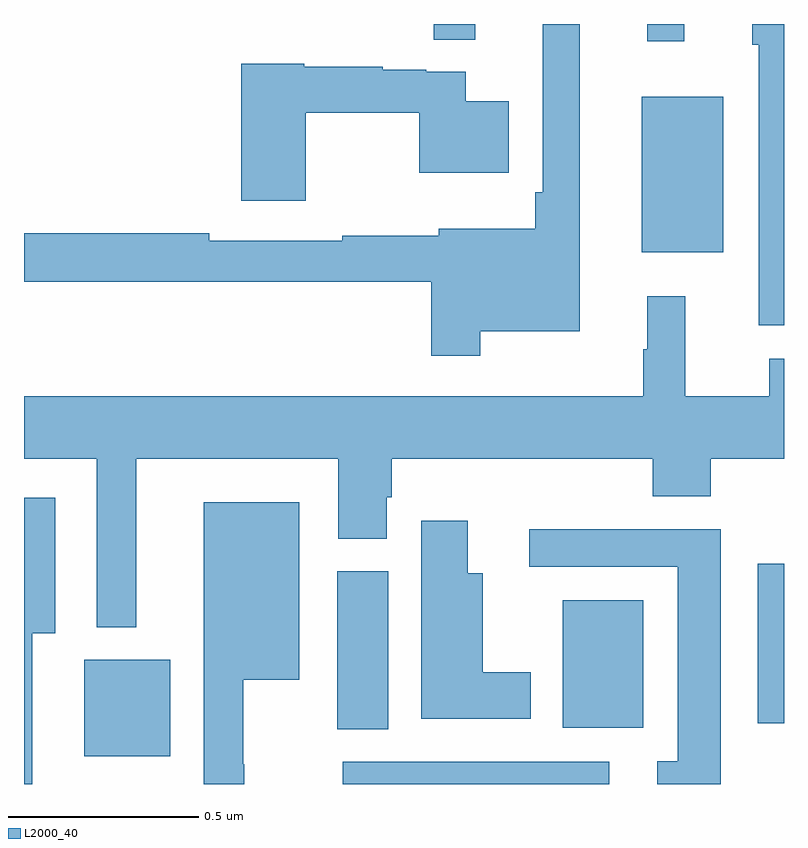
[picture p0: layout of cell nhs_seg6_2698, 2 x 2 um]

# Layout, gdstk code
import gdstk
lib = gdstk.Library(unit=1e-6, precision=1e-09)
def R(c, l, rs):  # rectangles x0, y0, x1, y1
    for r in rs: c.add(gdstk.rectangle(r[:2], r[2:], *l))
def P(c, l, *ps):  # polygons
    for p in ps: c.add(gdstk.Polygon(p, *l))
L2000_40 = (2000, 40)

nhs_seg6_2698 = lib.new_cell('nhs_seg6_2698')
R(nhs_seg6_2698, L2000_40, [(147.839,926.5,148.54,926.559), (147.158,926.573,147.385,926.827), (147.824,926.644,147.958,927.06), (148.418,926.648,148.63,926.983), (148.931,926.66,149,927.079), (148.625,927.899,148.84,928.309), (148.64,928.455,148.738,928.5), (148.078,928.459,148.187,928.5)])
P(nhs_seg6_2698, L2000_40, [(148.201,927.692),(148.462,927.692),(148.462,928.5),(148.365,928.5),(148.365,928.057),(148.345,928.057),(148.345,927.961),(148.091,927.961),(148.091,927.943),(147.838,927.943),(147.838,927.93),(147.488,927.93),(147.488,927.95),(147,927.95),(147,927.822),(148.072,927.822),(148.072,927.627),(148.201,927.627)],
  [(149,928.5),(148.916,928.5),(148.916,928.446),(148.934,928.446),(148.934,927.707),(149,927.707)],
  [(147.742,928.266),(148.04,928.266),(148.04,928.109),(148.276,928.109),(148.276,928.297),(148.162,928.297),(148.162,928.374),(148.058,928.374),(148.058,928.38),(147.944,928.38),(147.944,928.387),(147.738,928.387),(147.738,928.395),(147.572,928.395),(147.572,928.035),(147.742,928.035)],
  [(147.295,927.356),(147.827,927.356),(147.827,927.145),(147.955,927.145),(147.955,927.255),(147.968,927.255),(147.968,927.356),(148.655,927.356),(148.655,927.257),(148.807,927.257),(148.807,927.356),(149,927.356),(149,927.619),(148.961,927.619),(148.961,927.52),(148.74,927.52),(148.74,927.784),(148.64,927.784),(148.64,927.644),(148.629,927.644),(148.629,927.52),(147,927.52),(147,927.356),(147.191,927.356),(147.191,926.912),(147.295,926.912)],
  [(147.022,926.897),(147.082,926.897),(147.082,927.253),(147,927.253),(147,926.5),(147.022,926.5)],
  [(147.58,926.552),(147.577,926.552),(147.577,926.774),(147.724,926.774),(147.724,927.241),(147.473,927.241),(147.473,926.5),(147.58,926.5)],
  [(148.333,926.794),(148.207,926.794),(148.207,927.055),(148.168,927.055),(148.168,927.193),(148.046,927.193),(148.046,926.672),(148.333,926.672)],
  [(148.834,927.17),(148.329,927.17),(148.329,927.072),(148.721,927.072),(148.721,926.56),(148.667,926.56),(148.667,926.5),(148.834,926.5)])

lib.write_gds('nhs_seg6_2698.gds')
